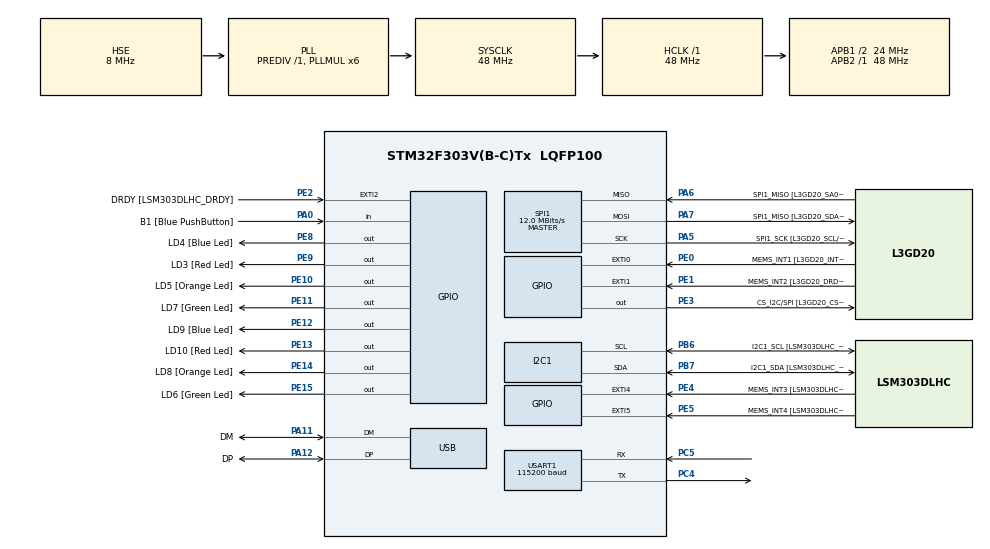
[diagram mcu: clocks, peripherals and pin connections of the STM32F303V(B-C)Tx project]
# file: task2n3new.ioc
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I2C1.Timing=0x00201D2B
I2C1.Timing-I2C=0x2000090E
Mcu.Family=STM32F3
Mcu.Name=STM32F303V(B-C)Tx
Mcu.Package=LQFP100
NVIC.PriorityGroup=NVIC_PRIORITYGROUP_0
NVIC.TIM2_IRQn=true\:0\:0\:false\:false\:true\:true\:true\:true
NVIC.USB_LP_CAN_RX0_IRQn=true\:0\:0\:false\:false\:true\:false\:true\:true
PA0.GPIO_Label=B1 [Blue PushButton]
PA0.Signal=GPIO_Input
PA11.GPIO_Label=DM
PA11.Mode=Device
PA11.Signal=USB_DM
PA12.GPIO_Label=DP
PA12.Mode=Device
PA12.Signal=USB_DP
PA13.GPIO_Label=SWDIO
PA13.Mode=Serial_Wire
PA13.Signal=SYS_JTMS-SWDIO
PA14.GPIO_Label=SWCLK
PA14.Mode=Serial_Wire
PA14.Signal=SYS_JTCK-SWCLK
PA5.GPIO_Label=SPI1_SCK [L3GD20_SCL/SPC]
PA5.Mode=Full_Duplex_Master
PA5.Signal=SPI1_SCK
PA6.GPIO_Label=SPI1_MISO [L3GD20_SA0/SDO]
PA6.Mode=Full_Duplex_Master
PA6.Signal=SPI1_MISO
PA7.GPIO_Label=SPI1_MISO [L3GD20_SDA/SDI/SDO]
PA7.Mode=Full_Duplex_Master
PA7.Signal=SPI1_MOSI
PB3.GPIO_Label=SWO
PB3.Signal=SYS_JTDO-TRACESWO
PB6.GPIO_Label=I2C1_SCL [LSM303DLHC_SCL]
PB6.GPIO_Pu=GPIO_PULLUP
PB6.Mode=I2C
PB6.Signal=I2C1_SCL
PB7.GPIO_Label=I2C1_SDA [LSM303DLHC_SDA]
PB7.GPIO_Pu=GPIO_PULLUP
PB7.Mode=I2C
PB7.Signal=I2C1_SDA
PC14-OSC32_IN.GPIO_Label=OSC32_IN
PC14-OSC32_IN.Signal=RCC_OSC32_IN
PC15-OSC32_OUT.GPIO_Label=OSC32_OUT
PC15-OSC32_OUT.Signal=RCC_OSC32_OUT
PC4.Mode=Asynchronous
PC4.Signal=USART1_TX
PC5.Mode=Asynchronous
PC5.Signal=USART1_RX
PE0.GPIO_Label=MEMS_INT1 [L3GD20_INT1]
PE0.GPIO_ModeDefaultEXTI=GPIO_MODE_EVT_RISING
PE0.Signal=GPXTI0
PE1.GPIO_Label=MEMS_INT2 [L3GD20_DRDY/INT2]
PE1.GPIO_ModeDefaultEXTI=GPIO_MODE_EVT_RISING
PE1.Signal=GPXTI1
PE10.GPIO_Label=LD5 [Orange Led]
PE10.Signal=GPIO_Output
PE11.GPIO_Label=LD7 [Green Led]
PE11.Signal=GPIO_Output
PE12.GPIO_Label=LD9 [Blue Led]
PE12.Signal=GPIO_Output
PE13.GPIO_Label=LD10 [Red Led]
PE13.Signal=GPIO_Output
PE14.GPIO_Label=LD8 [Orange Led]
PE14.Signal=GPIO_Output
PE15.GPIO_Label=LD6 [Green Led]
PE15.Signal=GPIO_Output
PE2.GPIO_Label=DRDY [LSM303DLHC_DRDY]
PE2.GPIO_ModeDefaultEXTI=GPIO_MODE_EVT_RISING
PE2.Signal=GPXTI2
PE3.GPIO_Label=CS_I2C/SPI [L3GD20_CS_I2C/SPI]
PE3.Signal=GPIO_Output
PE4.GPIO_Label=MEMS_INT3 [LSM303DLHC_INT1]
PE4.GPIO_ModeDefaultEXTI=GPIO_MODE_EVT_RISING
PE4.Signal=GPXTI4
PE5.GPIO_Label=MEMS_INT4 [LSM303DLHC_INT2]
PE5.GPIO_ModeDefaultEXTI=GPIO_MODE_EVT_RISING
PE5.Signal=GPXTI5
PE8.GPIO_Label=LD4 [Blue Led]
PE8.Signal=GPIO_Output
PE9.GPIO_Label=LD3 [Red Led]
PE9.Signal=GPIO_Output
PF0-OSC_IN.GPIO_Label=OSC_IN
PF0-OSC_IN.Mode=HSE-External-Clock-Source
PF0-OSC_IN.Signal=RCC_OSC_IN
PF1-OSC_OUT.GPIO_Label=OSC_OUT
PF1-OSC_OUT.Signal=RCC_OSC_OUT
ProjectManager.HeapSize=0x200
ProjectManager.StackSize=0x400
ProjectManager.TargetToolchain=CMake
RCC.AHBFreq_Value=48000000
RCC.APB1CLKDivider=RCC_HCLK_DIV2
RCC.APB1Freq_Value=24000000
RCC.APB1TimFreq_Value=48000000
RCC.APB2Freq_Value=48000000
RCC.APB2TimFreq_Value=48000000
RCC.CortexFreq_Value=48000000
RCC.HCLKFreq_Value=48000000
RCC.HSE_VALUE=8000000
RCC.HSI_VALUE=8000000
RCC.LSE_VALUE=32768
RCC.PLLMUL=RCC_PLL_MUL6
RCC.SYSCLKFreq_VALUE=48000000
RCC.SYSCLKSourceVirtual=RCC_SYSCLKSOURCE_PLLCLK
RCC.USBFreq_Value=48000000
SPI1.BaudRatePrescaler=SPI_BAUDRATEPRESCALER_4
SPI1.BaudRatePrescaler-Full_Duplex_Master=SPI_BAUDRATEPRESCALER_2
SPI1.CalculateBaudRate=12.0 MBits/s
SPI1.CalculateBaudRate-Full_Duplex_Master=24.0 MBits/s
SPI1.Direction=SPI_DIRECTION_2LINES
SPI1.Mode=SPI_MODE_MASTER
SPI1.Mode-Full_Duplex_Master=SPI_MODE_MASTER
SPI1.VirtualType=VM_MASTER
TIM2.Period=99
TIM2.Prescaler=4799
USART1.BaudRate=115200
USART1.VirtualMode-Asynchronous=VM_ASYNC
USB_DEVICE.CLASS_NAME_FS=CDC
USB_DEVICE.VirtualMode=Cdc
USB_DEVICE.VirtualModeFS=Cdc_FS
VP_TIM2_VS_ClockSourceINT.Mode=Internal
VP_USB_DEVICE_VS_USB_DEVICE_CDC_FS.Mode=CDC_FS
board=STM32F3DISCOVERY

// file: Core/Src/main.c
#include <math.h>   // for atan2f, sqrtf

/* USER CODE BEGIN Header */
/**+
  ******************************************************************************
  * @file           : main.c
  * @brief          : Main program body
  ******************************************************************************
  * @attention
  *
  * Copyright (c) 2025 STMicroelectronics.
  * All rights reserved.
  *
  * This software is licensed under terms that can be found in the LICENSE file
  * in the root directory of this software component.
  * If no LICENSE file comes with this software, it is provided AS-IS.WHI
  *
  ******************************************************************************
  */
/* USER CODE END Header */
#include "main.h"
#include "usb_device.h"

/* USER CODE BEGIN PD */
#define RAD_TO_DEG 57.2958f
#define ACC_SENSITIVITY 4.0f   // mg per LSB (normal mode)
#define LSM303AGR_ADDR_WRITE  0x32
#define LSM303AGR_ADDR_READ   0x33

/* USER CODE END PD */

I2C_HandleTypeDef hi2c1;

SPI_HandleTypeDef hspi1;

TIM_HandleTypeDef htim2;

UART_HandleTypeDef huart1;

/* USER CODE BEGIN PV */
volatile uint8_t flag_10Hz = 0;
volatile uint8_t counter_10Hz = 0;
/* USER CODE END PV */

void SystemClock_Config(void);
static void MX_GPIO_Init(void);
static void MX_I2C1_Init(void);
static void MX_SPI1_Init(void);
static void MX_TIM2_Init(void);
static void MX_USART1_UART_Init(void);
/* USER CODE BEGIN PFP */
void LSM303AGR_Init(void);
void LSM303AGR_ReadRaw(int16_t *x, int16_t *y, int16_t *z);
void SendAccelValues(int16_t x, int16_t y, int16_t z);
/* USER CODE END PFP */

/* USER CODE BEGIN 0 */
uint32_t last_capture = 0, period = 0;
/* USER CODE END 0 */

void HAL_TIM_IC_CaptureCallback ( TIM_HandleTypeDef *htim) {
  if (htim -> Channel == HAL_TIM_ACTIVE_CHANNEL_1 ) {
    uint32_t current_capture = HAL_TIM_ReadCapturedValue (htim ,TIM_CHANNEL_1 );
    period = current_capture - last_capture ;
    last_capture = current_capture ;
  }
}
int main(void)
{

  /* MCU Configuration--------------------------------------------------------*/

  /* Reset of all peripherals, Initializes the Flash interface and the Systick. */
  HAL_Init();

  /* Configure the system clock */
  SystemClock_Config();

  /* Initialize all configured peripherals */
  MX_GPIO_Init();
  MX_I2C1_Init();
  MX_SPI1_Init();
  MX_TIM2_Init();
  MX_USART1_UART_Init();
  MX_USB_DEVICE_Init();
  /* USER CODE BEGIN 2 */
  LSM303AGR_Init();           //enable accelerometer here
  HAL_TIM_Base_Start_IT(&htim2);
  /* USER CODE END 2 */

  /* Infinite loop */
  /* USER CODE BEGIN WHILE */
  HAL_TIM_Base_Start_IT (& htim2);

   while (1)
  {
    /* USER CODE END WHILE */

    if (flag_10Hz)
    {
        flag_10Hz = 0; // clear flag

        // Toggle another LED (example: PE11)
        HAL_GPIO_TogglePin(GPIOE, GPIO_PIN_11);

      //   char msg[50];
      // sprintf(msg, "10Hz event triggered\r\n");
      // HAL_UART_Transmit(&huart1, (uint8_t*)msg, strlen(msg), HAL_MAX_DELAY);
      int16_t ax, ay, az;
      LSM303AGR_ReadRaw(&ax, &ay, &az);       // read raw values
      SendAccelValues(ax, ay, az);            // print via UART

  }
}
}
void SystemClock_Config(void)
{
  RCC_OscInitTypeDef RCC_OscInitStruct = {0};
  RCC_ClkInitTypeDef RCC_ClkInitStruct = {0};
  RCC_PeriphCLKInitTypeDef PeriphClkInit = {0};

  /** Initializes the RCC Oscillators according to the specified parameters
  * in the RCC_OscInitTypeDef structure.
  */
  RCC_OscInitStruct.OscillatorType = RCC_OSCILLATORTYPE_HSI|RCC_OSCILLATORTYPE_HSE;
  RCC_OscInitStruct.HSEState = RCC_HSE_BYPASS;
  RCC_OscInitStruct.HSEPredivValue = RCC_HSE_PREDIV_DIV1;
  RCC_OscInitStruct.HSIState = RCC_HSI_ON;
  RCC_OscInitStruct.HSICalibrationValue = RCC_HSICALIBRATION_DEFAULT;
  RCC_OscInitStruct.PLL.PLLState = RCC_PLL_ON;
  RCC_OscInitStruct.PLL.PLLSource = RCC_PLLSOURCE_HSE;
  RCC_OscInitStruct.PLL.PLLMUL = RCC_PLL_MUL6;
  if (HAL_RCC_OscConfig(&RCC_OscInitStruct) != HAL_OK)
  {
    Error_Handler();
  }

  /** Initializes the CPU, AHB and APB buses clocks
  */
  RCC_ClkInitStruct.ClockType = RCC_CLOCKTYPE_HCLK|RCC_CLOCKTYPE_SYSCLK
                              |RCC_CLOCKTYPE_PCLK1|RCC_CLOCKTYPE_PCLK2;
  RCC_ClkInitStruct.SYSCLKSource = RCC_SYSCLKSOURCE_PLLCLK;
  RCC_ClkInitStruct.AHBCLKDivider = RCC_SYSCLK_DIV1;
  RCC_ClkInitStruct.APB1CLKDivider = RCC_HCLK_DIV2;
  RCC_ClkInitStruct.APB2CLKDivider = RCC_HCLK_DIV1;

  if (HAL_RCC_ClockConfig(&RCC_ClkInitStruct, FLASH_LATENCY_1) != HAL_OK)
  {
    Error_Handler();
  }
  PeriphClkInit.PeriphClockSelection = RCC_PERIPHCLK_USB|RCC_PERIPHCLK_USART1
                              |RCC_PERIPHCLK_I2C1;
  PeriphClkInit.Usart1ClockSelection = RCC_USART1CLKSOURCE_PCLK2;
  PeriphClkInit.I2c1ClockSelection = RCC_I2C1CLKSOURCE_HSI;
  PeriphClkInit.USBClockSelection = RCC_USBCLKSOURCE_PLL;
  if (HAL_RCCEx_PeriphCLKConfig(&PeriphClkInit) != HAL_OK)
  {
    Error_Handler();
  }
}

static void MX_I2C1_Init(void)
{

  hi2c1.Instance = I2C1;
  hi2c1.Init.Timing = 0x00201D2B;
  hi2c1.Init.OwnAddress1 = 0;
  hi2c1.Init.AddressingMode = I2C_ADDRESSINGMODE_7BIT;
  hi2c1.Init.DualAddressMode = I2C_DUALADDRESS_DISABLE;
  hi2c1.Init.OwnAddress2 = 0;
  hi2c1.Init.OwnAddress2Masks = I2C_OA2_NOMASK;
  hi2c1.Init.GeneralCallMode = I2C_GENERALCALL_DISABLE;
  hi2c1.Init.NoStretchMode = I2C_NOSTRETCH_DISABLE;
  if (HAL_I2C_Init(&hi2c1) != HAL_OK)
  {
    Error_Handler();
  }

  /** Configure Analogue filter
  */
  if (HAL_I2CEx_ConfigAnalogFilter(&hi2c1, I2C_ANALOGFILTER_ENABLE) != HAL_OK)
  {
    Error_Handler();
  }

  /** Configure Digital filter
  */
  if (HAL_I2CEx_ConfigDigitalFilter(&hi2c1, 0) != HAL_OK)
  {
    Error_Handler();
  }

}

static void MX_SPI1_Init(void)
{

  /* SPI1 parameter configuration*/
  hspi1.Instance = SPI1;
  hspi1.Init.Mode = SPI_MODE_MASTER;
  hspi1.Init.Direction = SPI_DIRECTION_2LINES;
  hspi1.Init.DataSize = SPI_DATASIZE_4BIT;
  hspi1.Init.CLKPolarity = SPI_POLARITY_LOW;
  hspi1.Init.CLKPhase = SPI_PHASE_1EDGE;
  hspi1.Init.NSS = SPI_NSS_SOFT;
  hspi1.Init.BaudRatePrescaler = SPI_BAUDRATEPRESCALER_4;
  hspi1.Init.FirstBit = SPI_FIRSTBIT_MSB;
  hspi1.Init.TIMode = SPI_TIMODE_DISABLE;
  hspi1.Init.CRCCalculation = SPI_CRCCALCULATION_DISABLE;
  hspi1.Init.CRCPolynomial = 7;
  hspi1.Init.CRCLength = SPI_CRC_LENGTH_DATASIZE;
  hspi1.Init.NSSPMode = SPI_NSS_PULSE_ENABLE;
  if (HAL_SPI_Init(&hspi1) != HAL_OK)
  {
    Error_Handler();
  }

}

static void MX_TIM2_Init(void)
{

  TIM_ClockConfigTypeDef sClockSourceConfig = {0};
  TIM_MasterConfigTypeDef sMasterConfig = {0};

  htim2.Instance = TIM2;
  htim2.Init.Prescaler = 4799;
  htim2.Init.CounterMode = TIM_COUNTERMODE_UP;
  htim2.Init.Period = 99;
  htim2.Init.ClockDivision = TIM_CLOCKDIVISION_DIV1;
  htim2.Init.AutoReloadPreload = TIM_AUTORELOAD_PRELOAD_DISABLE;
  if (HAL_TIM_Base_Init(&htim2) != HAL_OK)
  {
    Error_Handler();
  }
  sClockSourceConfig.ClockSource = TIM_CLOCKSOURCE_INTERNAL;
  if (HAL_TIM_ConfigClockSource(&htim2, &sClockSourceConfig) != HAL_OK)
  {
    Error_Handler();
  }
  sMasterConfig.MasterOutputTrigger = TIM_TRGO_RESET;
  sMasterConfig.MasterSlaveMode = TIM_MASTERSLAVEMODE_DISABLE;
  if (HAL_TIMEx_MasterConfigSynchronization(&htim2, &sMasterConfig) != HAL_OK)
  {
    Error_Handler();
  }

}

static void MX_USART1_UART_Init(void)
{

  huart1.Instance = USART1;
  huart1.Init.BaudRate = 115200;
  huart1.Init.WordLength = UART_WORDLENGTH_8B;
  huart1.Init.StopBits = UART_STOPBITS_1;
  huart1.Init.Parity = UART_PARITY_NONE;
  huart1.Init.Mode = UART_MODE_TX_RX;
  huart1.Init.HwFlowCtl = UART_HWCONTROL_NONE;
  huart1.Init.OverSampling = UART_OVERSAMPLING_16;
  huart1.Init.OneBitSampling = UART_ONE_BIT_SAMPLE_DISABLE;
  huart1.AdvancedInit.AdvFeatureInit = UART_ADVFEATURE_NO_INIT;
  if (HAL_UART_Init(&huart1) != HAL_OK)
  {
    Error_Handler();
  }

}

static void MX_GPIO_Init(void)
{
  GPIO_InitTypeDef GPIO_InitStruct = {0};

  /* GPIO Ports Clock Enable */
  __HAL_RCC_GPIOE_CLK_ENABLE();
  __HAL_RCC_GPIOC_CLK_ENABLE();
  __HAL_RCC_GPIOF_CLK_ENABLE();
  __HAL_RCC_GPIOA_CLK_ENABLE();
  __HAL_RCC_GPIOB_CLK_ENABLE();

  /*Configure GPIO pin Output Level */
  HAL_GPIO_WritePin(GPIOE, CS_I2C_SPI_Pin|LD4_Pin|LD3_Pin|LD5_Pin
                          |LD7_Pin|LD9_Pin|LD10_Pin|LD8_Pin
                          |LD6_Pin, GPIO_PIN_RESET);

  /*Configure GPIO pins : DRDY_Pin MEMS_INT3_Pin MEMS_INT4_Pin MEMS_INT1_Pin
                           MEMS_INT2_Pin */
  GPIO_InitStruct.Pin = DRDY_Pin|MEMS_INT3_Pin|MEMS_INT4_Pin|MEMS_INT1_Pin
                          |MEMS_INT2_Pin;
  GPIO_InitStruct.Mode = GPIO_MODE_EVT_RISING;
  GPIO_InitStruct.Pull = GPIO_NOPULL;
  HAL_GPIO_Init(GPIOE, &GPIO_InitStruct);

  /*Configure GPIO pins : CS_I2C_SPI_Pin LD4_Pin LD3_Pin LD5_Pin
                           LD7_Pin LD9_Pin LD10_Pin LD8_Pin
                           LD6_Pin */
  GPIO_InitStruct.Pin = CS_I2C_SPI_Pin|LD4_Pin|LD3_Pin|LD5_Pin
                          |LD7_Pin|LD9_Pin|LD10_Pin|LD8_Pin
                          |LD6_Pin;
  GPIO_InitStruct.Mode = GPIO_MODE_OUTPUT_PP;
  GPIO_InitStruct.Pull = GPIO_NOPULL;
  GPIO_InitStruct.Speed = GPIO_SPEED_FREQ_LOW;
  HAL_GPIO_Init(GPIOE, &GPIO_InitStruct);

  /*Configure GPIO pin : B1_Pin */
  GPIO_InitStruct.Pin = B1_Pin;
  GPIO_InitStruct.Mode = GPIO_MODE_INPUT;
  GPIO_InitStruct.Pull = GPIO_NOPULL;
  HAL_GPIO_Init(B1_GPIO_Port, &GPIO_InitStruct);

}

/* USER CODE BEGIN 4 */
// I2C device address for LSM303AGR (write=0x32, read=0x33)
#define LSM303AGR_ADDR_WRITE  0x32
#define LSM303AGR_ADDR_READ   0x33

// Initialize accelerometer: 100 Hz, all axes on, ±2 g
void LSM303AGR_Init(void)
{
    uint8_t data;

    // CTRL_REG1_A (0x20): 0x57 = 100 Hz, X/Y/Z enable
    data = 0x57;
    HAL_I2C_Mem_Write(&hi2c1, LSM303AGR_ADDR_WRITE, 0x20, 1, &data, 1, HAL_MAX_DELAY);

    // CTRL_REG4_A (0x23): ±2 g full scale, continuous update
    data = 0x00;
    HAL_I2C_Mem_Write(&hi2c1, LSM303AGR_ADDR_WRITE, 0x23, 1, &data, 1, HAL_MAX_DELAY);
}

// Read raw 16-bit acceleration data from X, Y, Z
void LSM303AGR_ReadRaw(int16_t *x, int16_t *y, int16_t *z)
{
    uint8_t raw[6];
    HAL_I2C_Mem_Read(&hi2c1, LSM303AGR_ADDR_READ, 0x28 | 0x80, 1, raw, 6, HAL_MAX_DELAY);

    *x = (int16_t)((raw[1] << 8) | raw[0]);
    *y = (int16_t)((raw[3] << 8) | raw[2]);
    *z = (int16_t)((raw[5] << 8) | raw[4]);

    *x = *x >> 6;   // 12-bit
    *y = *y >> 6;
    *z = *z >> 6;

    // INTEGER PRINTING ONLY
    char msg[64];
    sprintf(msg, "RAW: %d, %d, %d\r\n", *x, *y, *z);
    HAL_UART_Transmit(&huart1, (uint8_t*)msg, strlen(msg), HAL_MAX_DELAY);
}

// Send integer accelerometer data over UART
void SendAccelValues(int16_t x_raw, int16_t y_raw, int16_t z_raw)
{
    // INTEGER PRINTING ONLY
    char msg[64];
    sprintf(msg, "RAW: %d, %d, %d\r\n", x_raw, y_raw, z_raw);
    HAL_UART_Transmit(&huart1, (uint8_t*)msg, strlen(msg), HAL_MAX_DELAY);
}

/* USER CODE END 4 */

void Error_Handler(void)
{
  __disable_irq();
  while (1)
  {
  }
}
void HAL_TIM_PeriodElapsedCallback ( TIM_HandleTypeDef *htim) {
  // if (htim -> Instance == TIM2) {
  //   HAL_GPIO_TogglePin (GPIOE , GPIO_PIN_9 );}
  if (htim->Instance == TIM2)
    {
        // 100Hz action
        HAL_GPIO_TogglePin(GPIOE, GPIO_PIN_9);

        // Every 10 cycles -> 10Hz action
        counter_10Hz++;
        if (counter_10Hz >= 9)
        {
            counter_10Hz = 0;
            flag_10Hz = 1;  // signal main loop
        }
    }
 }
